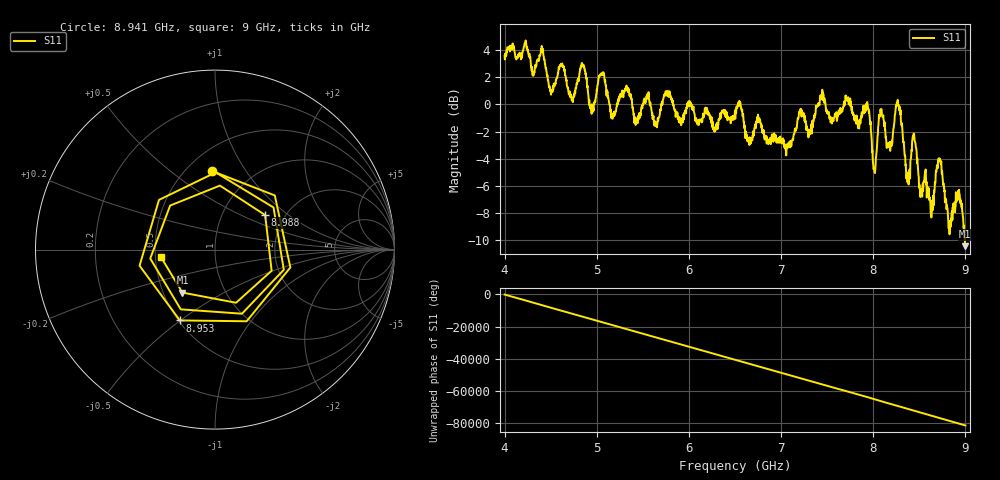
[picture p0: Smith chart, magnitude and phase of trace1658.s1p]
! Created with skrf 1.8.0 (http://scikit-rf.org).
# Hz S RI R 50.0
!freq ReS11 ImS11
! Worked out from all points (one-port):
!   1601 points, 4 GHz to 9 GHz, reference 50 ohm
!   lowest |S11| = -10.4 dB at 8.997 GHz (marker M1), VSWR 1.86, Z = 31.3 - j16.5 ohm
!   |S11| at or under -10 dB: 8.994382 GHz to end of sweep
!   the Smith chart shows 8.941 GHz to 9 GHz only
!   S11 on the Smith chart (normalised r, x): 8.941 GHz: 0.66, +0.72; 8.953 GHz: 0.51, -0.50; 8.988 GHz: 1.59, +0.69; 9 GHz: 0.54, -0.05
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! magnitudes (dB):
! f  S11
! 4 GHz  3.6
! 4.503 GHz  0.7
! 4.625 GHz  3.0
! 4.722 GHz  0.7
! 4.844 GHz  2.9
! 4.941 GHz  -0.4
! 5.053 GHz  2.3
! 5.172 GHz  -1.1
! 5.25 GHz  0.6
! 5.875 GHz  -0.6
! 6.5 GHz  -0.5
! 7.125 GHz  -2.6
! 7.75 GHz  0.4
! 7.938 GHz  0.0
! 8.012 GHz  -4.8
! 8.078 GHz  -0.4
! 8.181 GHz  -2.8
! 8.272 GHz  -0.1
! 8.375 GHz  -5.3
! 8.444 GHz  -2.2
! 8.631 GHz  -8.3
! 8.712 GHz  -4.1
! 8.822 GHz  -8.8
! 8.941 GHz  -7.2
! 8.953 GHz  -7.1
! 8.988 GHz  -9.4
! 8.997 GHz  -10.4
! 9 GHz  -10.4
